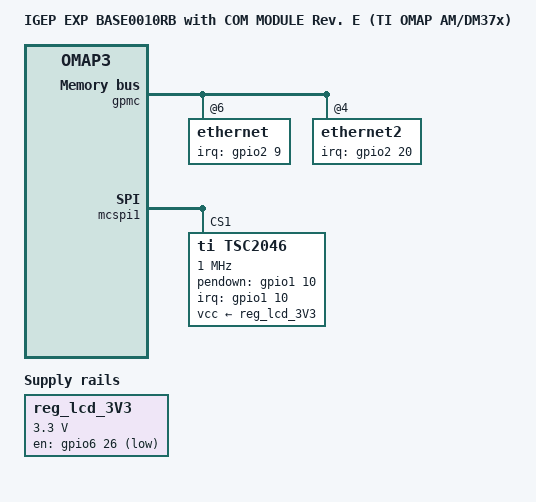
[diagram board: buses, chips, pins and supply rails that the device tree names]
/*
 * Device Tree Source for IGEP EXPANSION BASE0010RB with
 * COM MODULE Rev. E (TI OMAP AM/DM37x)
 *
 * Copyright (C) 2015 ISEE <isee.biz>
 *
 * This program is free software; you can redistribute it and/or modify
 * it under the terms of the GNU General Public License version 2 as
 * published by the Free Software Foundation.
 */

#include "omap3-igep0030.dts"
#include "omap-gpmc-smsc9221.dtsi"

/ {
	model = "IGEP EXP BASE0010RB with COM MODULE Rev. E (TI OMAP AM/DM37x)";
	compatible = "isee,omap3-igep0030-base0010", "isee,omap3-igep0030", "ti,omap36xx", "ti,omap3";

	reg_lcd_3V3: lcd_3V3 {
		compatible = "regulator-fixed";
		regulator-name = "lcd_3V3";
		regulator-min-microvolt = <3300000>;
		regulator-max-microvolt = <3300000>;
		gpio = <&gpio6 26 0>;    /*SYS_CLKOUT2.gpio_186*/
		startup-delay-us = <70000>;
		regulator-boot-on;
	};
};

&omap3_pmx_wkup {
	pinctrl-names = "default";

   tsc2048_pins: pinmux_tsc2048_pins {
		pinctrl-single,pins = <
			OMAP3_WKUP_IOPAD(0x2a1a, PIN_INPUT | MUX_MODE4)   /* sys_clkout1.gpio_10 */
		>;
	};
};

&omap3_pmx_core {
   smsc9221_ETH1_pins: pinmux_smsc9221_ETH1_pins {
		pinctrl-single,pins = <
			0x08a (PIN_OUTPUT | MUX_MODE0)		/* gpmc_ncs6.gpmc_ncs6 */
			0x058 (PIN_INPUT | MUX_MODE4)	      /* gpmc_a8.gpio_41 */
		>;
	};

   smsc9221_ETH2_pins: pinmux_smsc9221_ETH2_pins {
		pinctrl-single,pins = <
			0x086 (PIN_OUTPUT | MUX_MODE0)		/* gpmc_ncs4.gpmc_ncs4 */
			0x080 (PIN_INPUT | MUX_MODE4)		   /* gpmc_ncs1.gpio_52 */
		>;
	};

	spi1_pins: pinmux_spi1_pins {
		pinctrl-single,pins = <
			OMAP3_CORE1_IOPAD(0x21c8, PIN_INPUT_PULLDOWN | MUX_MODE0)   /* mcspi1_clk.mcspi1_clk */
			OMAP3_CORE1_IOPAD(0x21ca, PIN_INPUT_PULLDOWN | MUX_MODE0)   /* mcspi1_simo.mcspi1_simo */
			OMAP3_CORE1_IOPAD(0x21cc, PIN_INPUT_PULLDOWN | MUX_MODE0)   /* mcspi1_somi.mcspi1_somi */
			OMAP3_CORE1_IOPAD(0x21d0, PIN_OUTPUT | MUX_MODE0)   /* mcspi1_cs1.mcspi1_cs1 */
         OMAP3_CORE1_IOPAD(0x2138, PIN_INPUT | MUX_MODE4)   /* gpio_114.gpio_114 */
		>;
   };
};

&gpmc {
	ranges = <0 0 0x00000000 0x20000000>,
         <6 0 0x2d000000 0x01000000>,
		   <4 0 0x2b000000 0x01000000>;

   ethernet@gpmc {
      pinctrl-names = "default";
		pinctrl-0 = <&smsc9221_ETH1_pins>;
      reg = <6 0 0xff>;
		interrupt-parent = <&gpio2>;
      interrupts = <9 IRQ_TYPE_LEVEL_LOW>;
	};

   ethernet2@gpmc {
		pinctrl-names = "default";
		pinctrl-0 = <&smsc9221_ETH2_pins>;
      reg = <4 0 0xff>;
		interrupt-parent = <&gpio2>;
      interrupts = <20 IRQ_TYPE_LEVEL_LOW>;
	};
};

&mcspi1 {
	status = "okay";
	pinctrl-names = "default";
	pinctrl-0 = <&spi1_pins>;

	tsc2046@0 {
		reg = <1>;   /* CS1 */
		compatible = "ti,tsc2046";
		interrupt-parent = <&gpio1>;
		interrupts = <10 0>;   /* sys_clkout1.gpio_10 */
		spi-max-frequency = <1000000>;
		pendown-gpio = <&gpio1 10 0>;  /* sys_clkout1.gpio_10 */
		vcc-supply = <&reg_lcd_3V3>;
		pinctrl-names = "default";
		pinctrl-0 = <&tsc2048_pins>;
		ti,x-min = <138>;
		ti,x-max = <3923>;
		ti,y-min = <311>;
		ti,y-max = <3962>;
		ti,x-plate-ohms = <180>;
		ti,pressure-max = <255>;
      ti,debounce-max = <10>;
      ti,debounce-tol = <3>;
      ti,debounce-rep = <1>;
		linux,wakeup;
	};
};
